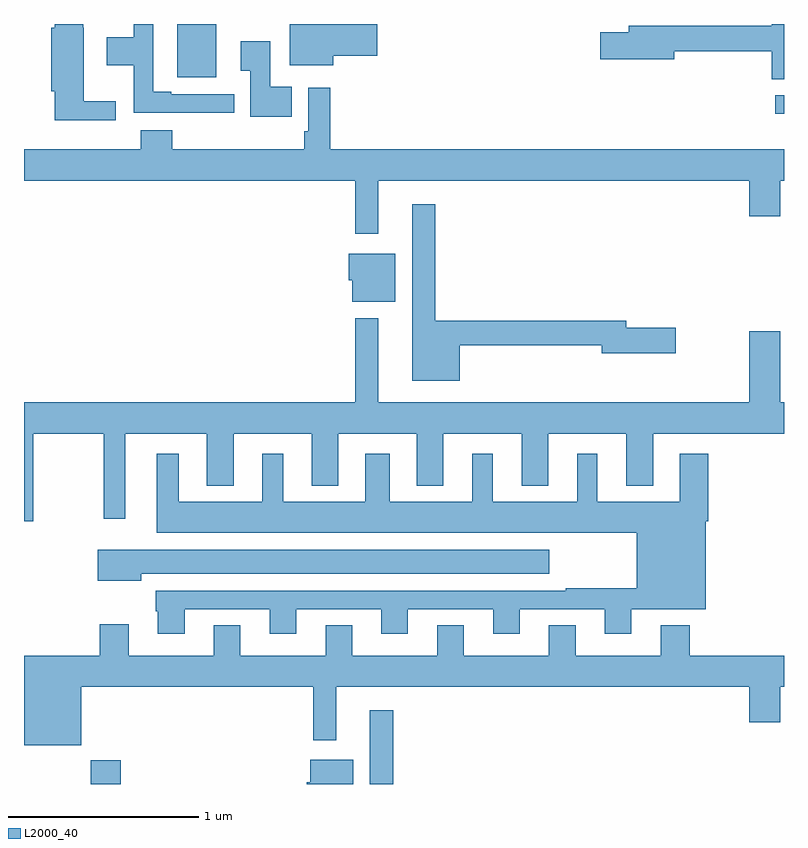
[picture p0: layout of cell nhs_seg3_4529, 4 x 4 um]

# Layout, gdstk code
import gdstk
lib = gdstk.Library(unit=1e-6, precision=1e-09)
def R(c, l, rs):  # rectangles x0, y0, x1, y1
    for r in rs: c.add(gdstk.rectangle(r[:2], r[2:], *l))
def P(c, l, *ps):  # polygons
    for p in ps: c.add(gdstk.Polygon(p, *l))
L2000_40 = (2000, 40)

nhs_seg3_4529 = lib.new_cell('nhs_seg3_4529')
R(nhs_seg3_4529, L2000_40, [(353.35,704.4,353.51,704.524), (354.821,704.4,354.943,704.788), (356.955,707.928,357,708.024), (353.807,708.119,354.013,708.4)])
P(nhs_seg3_4529, L2000_40, [(354.628,708.233),(354.859,708.233),(354.859,708.4),(354.398,708.4),(354.398,708.182),(354.628,708.182)],
  [(357,708.4),(356.936,708.4),(356.936,708.392),(356.183,708.392),(356.183,708.356),(356.034,708.356),(356.034,708.214),(356.422,708.214),(356.422,708.256),(356.936,708.256),(356.936,708.109),(357,708.109)],
  [(353.482,707.993),(353.314,707.993),(353.314,708.381),(353.311,708.381),(353.311,708.4),(353.162,708.4),(353.162,708.381),(353.144,708.381),(353.144,708.045),(353.162,708.045),(353.162,707.894),(353.482,707.894)],
  [(354.106,708.03),(353.776,708.03),(353.776,708.043),(353.679,708.043),(353.679,708.4),(353.578,708.4),(353.578,708.33),(353.436,708.33),(353.436,708.182),(353.578,708.182),(353.578,707.934),(353.863,707.934),(353.863,707.933),(354.106,707.933)],
  [(354.41,708.07),(354.295,708.07),(354.295,708.31),(354.141,708.31),(354.141,708.154),(354.191,708.154),(354.191,707.912),(354.41,707.912)],
  [(354.865,707.576),(356.816,707.576),(356.816,707.388),(356.98,707.388),(356.98,707.576),(357,707.576),(357,707.74),(354.611,707.74),(354.611,708.064),(354.495,708.064),(354.495,707.836),(354.475,707.836),(354.475,707.74),(353.78,707.74),(353.78,707.842),(353.615,707.842),(353.615,707.74),(353,707.74),(353,707.576),(354.744,707.576),(354.744,707.295),(354.865,707.295)],
  [(355.294,706.71),(356.042,706.71),(356.042,706.667),(356.431,706.667),(356.431,706.802),(356.17,706.802),(356.17,706.838),(355.165,706.838),(355.165,707.452),(355.043,707.452),(355.043,706.523),(355.294,706.523)],
  [(354.955,707.191),(354.71,707.191),(354.71,707.052),(354.728,707.052),(354.728,706.937),(354.955,706.937)],
  [(353.049,706.244),(353.419,706.244),(353.419,705.795),(353.533,705.795),(353.533,706.244),(353.963,706.244),(353.963,705.971),(354.103,705.971),(354.103,706.244),(354.515,706.244),(354.515,705.971),(354.655,705.971),(354.655,706.244),(355.067,706.244),(355.067,705.971),(355.207,705.971),(355.207,706.244),(355.619,706.244),(355.619,705.971),(355.759,705.971),(355.759,706.244),(356.171,706.244),(356.171,705.971),(356.311,705.971),(356.311,706.244),(357,706.244),(357,706.408),(356.98,706.408),(356.98,706.783),(356.816,706.783),(356.816,706.408),(354.865,706.408),(354.865,706.852),(354.744,706.852),(354.744,706.408),(353,706.408),(353,705.783),(353.049,705.783)],
  [(353.845,705.321),(354.293,705.321),(354.293,705.192),(354.433,705.192),(354.433,705.321),(354.881,705.321),(354.881,705.192),(355.021,705.192),(355.021,705.321),(355.469,705.321),(355.469,705.192),(355.609,705.192),(355.609,705.321),(356.057,705.321),(356.057,705.192),(356.197,705.192),(356.197,705.32),(356.587,705.32),(356.587,705.782),(356.6,705.782),(356.6,706.138),(356.45,706.138),(356.45,705.886),(356.017,705.886),(356.017,706.138),(355.913,706.138),(355.913,705.886),(355.468,705.886),(355.468,706.138),(355.358,706.138),(355.358,705.886),(354.925,705.886),(354.925,706.138),(354.797,706.138),(354.797,705.886),(354.364,705.886),(354.364,706.138),(354.254,706.138),(354.254,705.886),(353.815,705.886),(353.815,706.138),(353.699,706.138),(353.699,705.722),(356.225,705.722),(356.225,705.43),(355.852,705.43),(355.852,705.417),(353.693,705.417),(353.693,705.309),(353.705,705.309),(353.705,705.192),(353.845,705.192)],
  [(353.617,705.506),(355.765,705.506),(355.765,705.634),(353.388,705.634),(353.388,705.47),(353.617,705.47)],
  [(353.302,704.912),(354.522,704.912),(354.522,704.631),(354.643,704.631),(354.643,704.912),(356.816,704.912),(356.816,704.724),(356.98,704.724),(356.98,704.912),(357,704.912),(357,705.076),(356.504,705.076),(356.504,705.235),(356.351,705.235),(356.351,705.076),(355.903,705.076),(355.903,705.236),(355.763,705.236),(355.763,705.076),(355.315,705.076),(355.315,705.236),(355.175,705.236),(355.175,705.076),(354.727,705.076),(354.727,705.236),(354.587,705.236),(354.587,705.076),(354.139,705.076),(354.139,705.236),(353.999,705.236),(353.999,705.076),(353.551,705.076),(353.551,705.241),(353.399,705.241),(353.399,705.076),(353,705.076),(353,704.603),(353.302,704.603)],
  [(354.733,704.527),(354.506,704.527),(354.506,704.409),(354.488,704.409),(354.488,704.4),(354.733,704.4)])

lib.write_gds('nhs_seg3_4529.gds')
